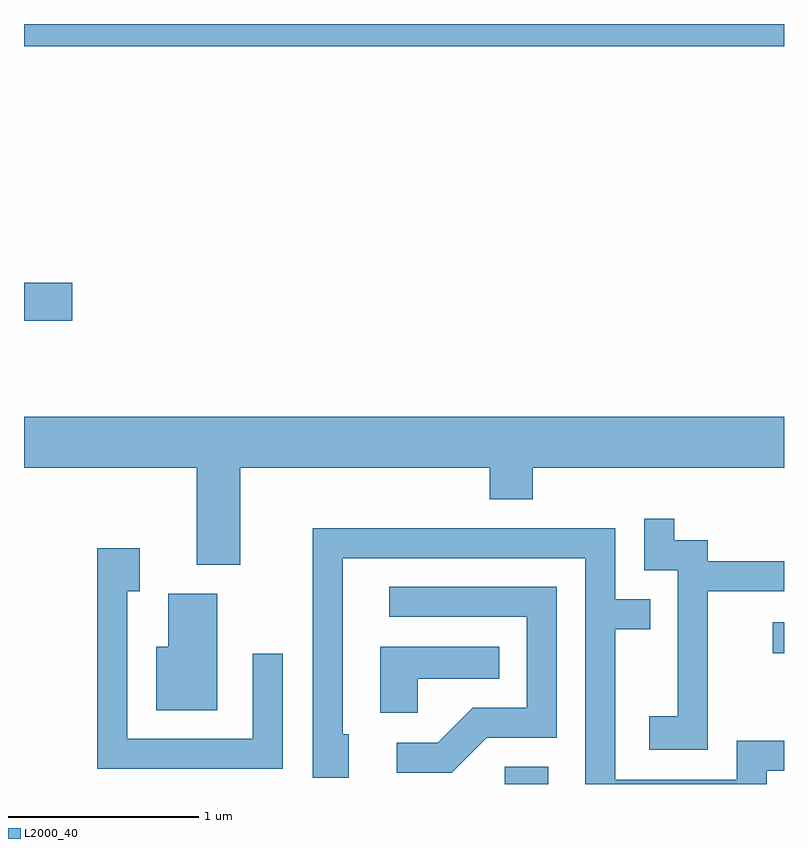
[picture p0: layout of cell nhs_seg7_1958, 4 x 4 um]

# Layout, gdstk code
import gdstk
lib = gdstk.Library(unit=1e-6, precision=1e-09)
def R(c, l, rs):  # rectangles x0, y0, x1, y1
    for r in rs: c.add(gdstk.rectangle(r[:2], r[2:], *l))
def P(c, l, *ps):  # polygons
    for p in ps: c.add(gdstk.Polygon(p, *l))
L2000_40 = (2000, 40)

nhs_seg7_1958 = lib.new_cell('nhs_seg7_1958')
R(nhs_seg7_1958, L2000_40, [(248.141,1668.252,248.369,1668.344), (249.553,1668.941,249.611,1669.104), (245.611,1670.691,245.864,1670.889), (245.611,1672.136,249.611,1672.252)])
P(nhs_seg7_1958, L2000_40, [(246.749,1669.916),(248.061,1669.916),(248.061,1669.751),(248.289,1669.751),(248.289,1669.916),(249.611,1669.916),(249.611,1670.184),(245.611,1670.184),(245.611,1669.916),(246.521,1669.916),(246.521,1669.406),(246.749,1669.406)],
  [(249.209,1669.266),(249.611,1669.266),(249.611,1669.424),(249.209,1669.424),(249.209,1669.534),(249.034,1669.534),(249.034,1669.648),(248.876,1669.648),(248.876,1669.376),(249.051,1669.376),(249.051,1668.609),(248.901,1668.609),(248.901,1668.431),(249.209,1668.431)],
  [(249.519,1668.321),(249.611,1668.321),(249.611,1668.479),(249.361,1668.479),(249.361,1668.274),(248.724,1668.274),(248.724,1669.066),(248.908,1669.066),(248.908,1669.224),(248.724,1669.224),(248.724,1669.599),(247.131,1669.599),(247.131,1668.286),(247.319,1668.286),(247.319,1668.514),(247.289,1668.514),(247.289,1669.441),(248.566,1669.441),(248.566,1668.252),(249.519,1668.252)],
  [(246.974,1668.938),(246.816,1668.938),(246.816,1668.489),(246.154,1668.489),(246.154,1669.266),(246.219,1669.266),(246.219,1669.494),(245.996,1669.494),(245.996,1668.331),(246.974,1668.331)],
  [(248.047,1668.496),(248.414,1668.496),(248.414,1669.289),(247.533,1669.289),(247.533,1669.131),(248.256,1669.131),(248.256,1668.654),(247.974,1668.654),(247.789,1668.469),(247.573,1668.469),(247.573,1668.311),(247.862,1668.311)],
  [(246.629,1669.254),(246.371,1669.254),(246.371,1668.974),(246.306,1668.974),(246.306,1668.641),(246.629,1668.641)],
  [(247.684,1668.806),(248.113,1668.806),(248.113,1668.974),(247.486,1668.974),(247.486,1668.626),(247.684,1668.626)])

lib.write_gds('nhs_seg7_1958.gds')
